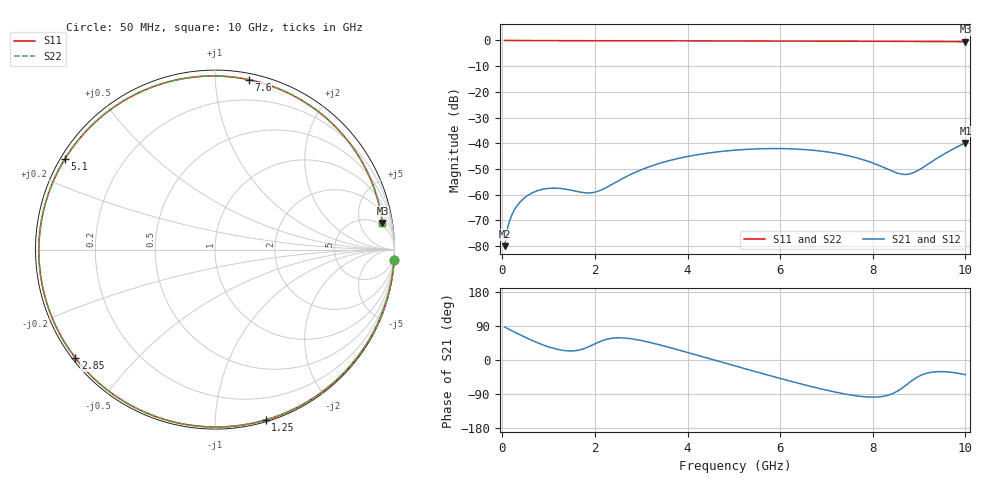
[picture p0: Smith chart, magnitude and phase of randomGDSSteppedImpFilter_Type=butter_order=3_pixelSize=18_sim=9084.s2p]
! freq	dB(S11)	phase(S11)	dB(S12)	phase(S12)
!  dB(S21)	phase(S21)	dB(S22)	phase(S22)
!S-par simulation data
#  GHz  S  DB  R 50
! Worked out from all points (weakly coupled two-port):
!   200 points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, 50 MHz to 10 GHz, reference 50 ohm
!   highest |S21| = -39.85 dB at 10 GHz (marker M1); lowest = -80.1 dB at 50 MHz (marker M2)
!   lowest |S11| = -0.5 dB at 10 GHz (marker M3), VSWR 34.90, Z = 206 + j561 ohm
!   |S11| at or under -10 dB: nowhere
!   |S22| runs from -0.5 to 0.0 dB; largest |S21 - S12| = 0
!   S11 on the Smith chart (normalised r, x): 50 MHz: 0, -36; 1.25 GHz: 0.01, -1.34; 2.85 GHz: 0.01, -0.34; 5.1 GHz: 0.01, +0.28; 7.6 GHz: 0.04, +1.22; 10 GHz: 4, +11
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0.05  -0.00 -3.2  -80.06 86.9  -80.06 86.9  -0.00 -3.2
0.1  -0.01 -6.3  -74.07 83.8  -74.07 83.8  -0.01 -6.3
0.15  -0.01 -9.5  -70.59 80.7  -70.59 80.7  -0.01 -9.5
0.25  -0.02 -15.7  -66.30 74.5  -66.30 74.5  -0.02 -15.7
0.4  -0.04 -24.9  -62.56 65.5  -62.56 65.5  -0.04 -24.9
0.75  -0.06 -45.8  -58.53 46.1  -58.53 46.1  -0.06 -45.8
1.25  -0.08 -73.5  -57.59 26.7  -57.59 26.7  -0.08 -73.5
1.75  -0.10 -98.0  -59.22 29.3  -59.22 29.3  -0.10 -98.0
2.1  -0.12 -113.3  -58.48 48.2  -58.48 48.2  -0.12 -113.3
2.85  -0.13 -142.2  -51.49 54.8  -51.49 54.8  -0.13 -142.2
3.4  -0.15 -160.8  -47.80 39.8  -47.80 39.8  -0.15 -160.8
4.2  -0.17 174.7  -44.51 12.9  -44.51 12.9  -0.17 174.7
5.05  -0.20 150.4  -42.66 -16.5  -42.66 -16.5  -0.20 150.4
5.1  -0.20 149.0  -42.59 -18.3  -42.59 -18.3  -0.20 149.0
5.95  -0.23 125.4  -42.07 -47.0  -42.07 -47.0  -0.23 125.4
6.7  -0.27 104.4  -42.72 -70.9  -42.72 -70.9  -0.27 104.4
7.6  -0.31 78.8  -45.42 -93.8  -45.42 -93.8  -0.31 78.8
8.35  -0.34 57.1  -50.34 -92.3  -50.34 -92.3  -0.34 57.1
8.65  -0.36 48.3  -52.10 -72.7  -52.10 -72.7  -0.36 48.3
8.85  -0.38 42.5  -51.65 -54.0  -51.65 -54.0  -0.38 42.5
9.45  -0.43 24.9  -45.18 -30.6  -45.18 -30.6  -0.43 24.9
10  -0.50 9.0  -39.85 -38.6  -39.85 -38.6  -0.50 9.0
